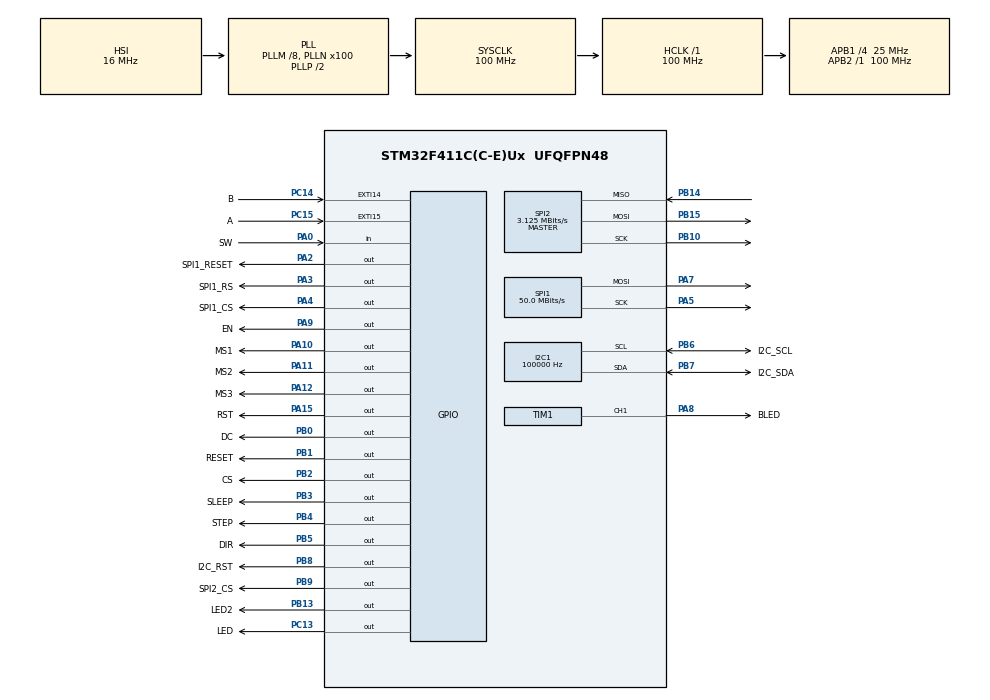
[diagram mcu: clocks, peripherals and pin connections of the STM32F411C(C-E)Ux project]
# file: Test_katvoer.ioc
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I2C1.ClockSpeed=100000
Mcu.Family=STM32F4
Mcu.Name=STM32F411C(C-E)Ux
Mcu.Package=UFQFPN48
NVIC.EXTI15_10_IRQn=true\:0\:0\:false\:false\:true\:true\:true
NVIC.PriorityGroup=NVIC_PRIORITYGROUP_4
PA0-WKUP.GPIO_Label=SW
PA0-WKUP.GPIO_PuPd=GPIO_PULLUP
PA0-WKUP.Signal=GPIO_Input
PA10.GPIO_Label=MS1
PA10.Signal=GPIO_Output
PA11.GPIO_Label=MS2
PA11.Signal=GPIO_Output
PA12.GPIO_Label=MS3
PA12.Signal=GPIO_Output
PA13.Mode=Serial_Wire
PA13.Signal=SYS_JTMS-SWDIO
PA14.Mode=Serial_Wire
PA14.Signal=SYS_JTCK-SWCLK
PA15.GPIO_Label=RST
PA15.Signal=GPIO_Output
PA2.GPIO_Label=SPI1_RESET
PA2.Signal=GPIO_Output
PA3.GPIO_Label=SPI1_RS
PA3.Signal=GPIO_Output
PA4.GPIO_Label=SPI1_CS
PA4.Signal=GPIO_Output
PA5.Mode=TX_Only_Simplex_Unidirect_Master
PA5.Signal=SPI1_SCK
PA7.Mode=TX_Only_Simplex_Unidirect_Master
PA7.Signal=SPI1_MOSI
PA8.GPIO_Label=BLED
PA8.Signal=S_TIM1_CH1
PA9.GPIO_Label=EN
PA9.Signal=GPIO_Output
PB0.GPIO_Label=DC
PB0.Signal=GPIO_Output
PB1.GPIO_Label=RESET
PB1.Signal=GPIO_Output
PB10.Mode=Full_Duplex_Master
PB10.Signal=SPI2_SCK
PB13.GPIO_Label=LED2
PB13.Signal=GPIO_Output
PB14.Mode=Full_Duplex_Master
PB14.Signal=SPI2_MISO
PB15.Mode=Full_Duplex_Master
PB15.Signal=SPI2_MOSI
PB2.GPIO_Label=CS
PB2.Signal=GPIO_Output
PB3.GPIO_Label=SLEEP
PB3.Signal=GPIO_Output
PB4.GPIO_Label=STEP
PB4.Signal=GPIO_Output
PB5.GPIO_Label=DIR
PB5.Signal=GPIO_Output
PB6.GPIO_Label=I2C_SCL
PB6.Mode=I2C
PB6.Signal=I2C1_SCL
PB7.GPIO_Label=I2C_SDA
PB7.Mode=I2C
PB7.Signal=I2C1_SDA
PB8.GPIO_Label=I2C_RST
PB8.Signal=GPIO_Output
PB9.GPIO_Label=SPI2_CS
PB9.Signal=GPIO_Output
PC13-ANTI_TAMP.GPIO_Label=LED
PC13-ANTI_TAMP.Signal=GPIO_Output
PC14-OSC32_IN.GPIO_Label=B
PC14-OSC32_IN.GPIO_ModeDefaultEXTI=GPIO_MODE_IT_RISING_FALLING
PC14-OSC32_IN.GPIO_PuPd=GPIO_PULLUP
PC14-OSC32_IN.Signal=GPXTI14
PC15-OSC32_OUT.GPIO_Label=A
PC15-OSC32_OUT.GPIO_ModeDefaultEXTI=GPIO_MODE_IT_RISING_FALLING
PC15-OSC32_OUT.GPIO_PuPd=GPIO_PULLUP
PC15-OSC32_OUT.Signal=GPXTI15
PH0\ -\ OSC_IN.Mode=HSE-External-Oscillator
PH0\ -\ OSC_IN.Signal=RCC_OSC_IN
PH1\ -\ OSC_OUT.Mode=HSE-External-Oscillator
PH1\ -\ OSC_OUT.Signal=RCC_OSC_OUT
ProjectManager.HeapSize=0x200
ProjectManager.StackSize=0x400
ProjectManager.TargetToolchain=STM32CubeIDE
RCC.48MHZClocksFreq_Value=50000000
RCC.AHBFreq_Value=100000000
RCC.APB1CLKDivider=RCC_HCLK_DIV4
RCC.APB1Freq_Value=25000000
RCC.APB1TimFreq_Value=50000000
RCC.APB2Freq_Value=100000000
RCC.APB2TimFreq_Value=100000000
RCC.CortexFreq_Value=100000000
RCC.HCLKFreq_Value=100000000
RCC.HSE_VALUE=16000000
RCC.HSI_VALUE=16000000
RCC.LSE_VALUE=32768
RCC.PLLM=8
RCC.PLLN=100
RCC.SYSCLKFreq_VALUE=100000000
RCC.SYSCLKSource=RCC_SYSCLKSOURCE_PLLCLK
RCC.VCOOutputFreq_Value=200000000
SH.S_TIM1_CH1.0=TIM1_CH1,PWM Generation1 CH1
SPI1.BaudRatePrescaler=SPI_BAUDRATEPRESCALER_2
SPI1.CalculateBaudRate=50.0 MBits/s
SPI1.Direction=SPI_DIRECTION_2LINES
SPI1.Mode=SPI_MODE_MASTER
SPI1.VirtualType=VM_MASTER
SPI2.BaudRatePrescaler=SPI_BAUDRATEPRESCALER_8
SPI2.CalculateBaudRate=3.125 MBits/s
SPI2.Direction=SPI_DIRECTION_2LINES
SPI2.Mode=SPI_MODE_MASTER
SPI2.VirtualType=VM_MASTER
TIM1.AutoReloadPreload=TIM_AUTORELOAD_PRELOAD_DISABLE
TIM1.Channel-PWM\ Generation1\ CH1=TIM_CHANNEL_1
TIM1.ClockDivision=TIM_CLOCKDIVISION_DIV4
TIM1.Prescaler=4
TIM10.ClockDivision=TIM_CLOCKDIVISION_DIV1
TIM10.Period=65535
TIM10.Prescaler=65535
TIM11.ClockDivision=TIM_CLOCKDIVISION_DIV4
TIM2.ClockDivision=TIM_CLOCKDIVISION_DIV1
TIM2.Period=4294967295
TIM2.Prescaler=50000
TIM3.Prescaler=4
TIM4.Prescaler=12500
VP_TIM10_VS_ClockSourceINT.Mode=Enable_Timer
VP_TIM11_VS_ClockSourceINT.Mode=Enable_Timer
VP_TIM1_VS_ClockSourceINT.Mode=Internal
VP_TIM2_VS_ClockSourceINT.Mode=Internal
VP_TIM3_VS_ClockSourceINT.Mode=Internal
VP_TIM4_VS_ClockSourceINT.Mode=Internal
board=custom

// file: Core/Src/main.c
/* USER CODE BEGIN Header */
/**
 ******************************************************************************
 * @file           : main.c
 * @brief          : Main program body
 ******************************************************************************
 * @attention
 *
 * <h2><center>&copy; Copyright (c) 2021 STMicroelectronics.
 * All rights reserved.</center></h2>
 *
 * This software component is licensed by ST under BSD 3-Clause license,
 * the "License"; You may not use this file except in compliance with the
 * License. You may obtain a copy of the License at:
 *                        opensource.org/licenses/BSD-3-Clause
 *
 ******************************************************************************
 */
/* USER CODE END Header */
#include "main.h"

/* USER CODE BEGIN Includes */
#include "stm32f4xx_hal.h"
#include "spi_ili9341.h"
#include "stdio.h"
#include "string.h"
#include "interface.h"
#include "stdbool.h"
#include "stdint.h"
#include "consolidate.h"
#include "stm32_ds3231.h"
#include "tone.h"
#include "w25qxx.h"
/* USER CODE END Includes */

I2C_HandleTypeDef hi2c1;

SPI_HandleTypeDef hspi1;
SPI_HandleTypeDef hspi2;

TIM_HandleTypeDef htim1;
TIM_HandleTypeDef htim2;
TIM_HandleTypeDef htim3;
TIM_HandleTypeDef htim4;
TIM_HandleTypeDef htim10;
TIM_HandleTypeDef htim11;

/* USER CODE BEGIN PV */
uint8_t buffer1[8]={1,2,3,4,5,6,7,8};
uint8_t buffer2[8];

/* USER CODE END PV */

void SystemClock_Config(void);
static void MX_GPIO_Init(void);
static void MX_SPI1_Init(void);
static void MX_TIM1_Init(void);
static void MX_SPI2_Init(void);
static void MX_TIM2_Init(void);
static void MX_TIM3_Init(void);
static void MX_I2C1_Init(void);
static void MX_TIM4_Init(void);
static void MX_TIM10_Init(void);
static void MX_TIM11_Init(void);

/* USER CODE BEGIN 0 */
//int A=0;
//int B=0;

short feed_time[4][2];
short feed_amount[4];
extern short update;

bool feed_status=1;
short feed_number=3;
uint8_t curr_day=0;
uint8_t prev_day=40;

long text_colour;

short prev_menu=-1;

short menu=0;
short sub_menu=-1;

short prev_sub_menu=-1;
uint16_t screen_brightness=32000;
long speed=4000; //2500

bool time_switch=0;
long time_switch_old;

bool feeding=false;
bool A_state=false;
bool B_state=true;
short selection,prev_selection;
short selection_wheel=-1;
bool sound_feed=1;
bool food_shake=1;
short sound_intensity=1; //0 uit 1 zacht,2 middel, 3 hard
short time_out=4; //0=10s, 1=20s, 30s, 1min, 5min,
bool refresh=0;
short feed_cal=5; //hoeveelheid voer calibratie
uint16_t sector_increment=65535;
uint8_t curr_sector=1;
long timeout_old=0;
long timeout_time=0;

long time_check_old=0;

short curr_time[2][2];

short skip_meal=0;

// external variables:
bool pressed;
bool button_pressed=false;
bool button_long_pressed=false;

extern short skip;

bool screen_off=0;

uint16_t time_now,time_old,time_diff;
long tone_old,tone_now,tone_diff;

_RTC rtc = {
		.Year = 21, .Month = 6, .Date = 24,
		.DaysOfWeek = THURSDAY,
		.Hour = 21, .Min = 6, .Sec = 00
};

//_RTC rtc;

uint8_t buffer[22];

/* USER CODE END 0 */

int main(void)
{
	/* USER CODE BEGIN 1 */
	HAL_GPIO_WritePin(BLED_GPIO_Port,BLED_Pin,GPIO_PIN_SET);
	/* USER CODE END 1 */

	/* MCU Configuration--------------------------------------------------------*/

	/* Reset of all peripherals, Initializes the Flash interface and the Systick. */
	HAL_Init();

	/* Configure the system clock */
	SystemClock_Config();

	/* USER CODE BEGIN SysInit */

	//HAL_TIM_Base_Start_IT(&htim1);

	/* USER CODE END SysInit */

	/* Initialize all configured peripherals */
	MX_GPIO_Init();
	MX_SPI1_Init();
	MX_TIM1_Init();
	MX_SPI2_Init();
	MX_TIM2_Init();
	MX_TIM3_Init();
	MX_I2C1_Init();
	MX_TIM4_Init();
	MX_TIM10_Init();
	MX_TIM11_Init();
	/* USER CODE BEGIN 2 */

	TFT9341_ini(240, 320);
	TFT9341_SetRotation(1);
	TFT9341_FillScreen(0x000);

	//extern short feed_time[4][2];
	feed_time[0][0]=8;
	feed_time[0][1]=0;
	feed_time[1][0]=13;
	feed_time[1][1]=1;
	feed_time[2][0]=18;
	feed_time[2][1]=0;
	feed_time[3][0]=0;
	feed_time[3][1]=10;
	//short feed_amount[4];
	//char curr_day[2];
	//short curr_time[2];
	//long text_colour;
	//short feed_status=1;
	//curr_time[0]=19;
	//curr_time[1]=47;
	//short feed_number=1;
	feed_amount[0]=7;
	feed_amount[1]=10;
	feed_amount[2]=10;
	feed_amount[3]=7;
	prev_selection=-1;

	pressed=false;
	char str[5];

	button_pressed=false;

	uint16_t time_now,time_old,time_diff;

	//draw_main(feed_time,feed_amount,curr_day,selection,text_colour,feed_status,feed_number);  //void draw_main(short feed_time[4][2],short feed_amount[4][1],char curr_day[2],short curr_time[2],short selection,long text_colour,short feed_status)
	/*
	int hour,min;
	hour=23;
	min=14;
	 */
	GPIO_PinState SW_state=GPIO_PIN_RESET;
	//HAL_GPIO_WritePin(BLED_GPIO_Port,BLED_Pin,GPIO_PIN_RESET);
	//char curr_time [50];
	HAL_TIM_Base_Start(&htim1);
	HAL_TIM_Base_Start(&htim2);
	HAL_TIM_Base_Start(&htim3);
	HAL_TIM_Base_Start(&htim4);
	HAL_TIM_Base_Start(&htim10);
	HAL_TIM_PWM_Start(&htim1, TIM_CHANNEL_1);
	//TIM1->CCR1=500;
	DS3231_Init(&hi2c1);

	//TFT9341_DrawRect(0xffff,30,70,130,170);
	//button(100,100,4);
	//test(150,100);
	//draw_power();
	//draw_main(feed_time,feed_amount,curr_day,selection,text_colour,feed_status,feed_number);
	/* USER CODE END 2 */

	/* Infinite loop */
	/* USER CODE BEGIN WHILE */
	//	short count=0;
	HAL_GPIO_WritePin(EN_GPIO_Port,EN_Pin,GPIO_PIN_RESET); //RESET is turn on
	HAL_GPIO_WritePin(SLEEP_GPIO_Port,SLEEP_Pin,GPIO_PIN_SET); //set is turn on
	HAL_GPIO_WritePin(RST_GPIO_Port,RST_Pin,GPIO_PIN_SET); //set is turn on
	HAL_GPIO_WritePin(MS1_GPIO_Port,MS1_Pin,GPIO_PIN_SET);
	HAL_GPIO_WritePin(MS2_GPIO_Port,MS2_Pin,GPIO_PIN_SET);
	HAL_GPIO_WritePin(MS3_GPIO_Port,MS3_Pin,GPIO_PIN_SET);
	menu=0;
	sub_menu=-1;
	skip=0;

	HAL_TIM_PWM_Start(&htim1, TIM_CHANNEL_1);

	//sub_menu=0;

	//DS3231_SetTime(&rtc);
	HAL_GPIO_WritePin(DIR_GPIO_Port,DIR_Pin,GPIO_PIN_SET);
	//play_tune();
	//play_tune();
	//play_tune();
	//play_tune();
	//play_tune();
	HAL_GPIO_WritePin(SLEEP_GPIO_Port,SLEEP_Pin,GPIO_PIN_RESET);
	HAL_GPIO_WritePin(EN_GPIO_Port,EN_Pin,GPIO_PIN_SET);
	W25qxx_Init();
	//W25qxx_EraseSector(1);
	//W25qxx_WriteSector(buffer1, 1, 0, 8);

	/*

	write_vars(buffer);

	for(int i=0;i<22;i++)
	{
		TFT9341_SetFont(&Font8);
		sprintf(str,"%d",buffer[i]);
		TFT9341_String(50,10*i,str);
		sprintf(str,"%d",i);
				TFT9341_String(5,10*i,str);
		buffer[i]=0;
	}
	read_vars();
	 */

	switch(time_out)
	{
	case 0:
		timeout_time=10000; // in ms
		break;
	case 1:
		timeout_time=20000; // in ms
		break;
	case 2:
		timeout_time=30000; // in ms
		break;
	case 3:
		timeout_time=60000; // in ms
		break;
	case 4:
		timeout_time=300000; // in ms
		break;
	}
	read_vars();
	DS3231_GetTime(&rtc);
	curr_day=rtc.DaysOfWeek;
	prev_day=curr_day;
	play_tune();
	//HAL_GPIO_WritePin(BLED_GPIO_Port,BLED_Pin,GPIO_PIN_SET);
	//feed_cat(1000);
	TIM1->CCR1=screen_brightness;
	HAL_GPIO_WritePin(BLED_GPIO_Port,BLED_Pin,GPIO_PIN_RESET);
	while (1)
	{
		menu_draw(); //takes care of all drawing actions on the screen
		selection_action();

		//W25qxx_ReadSector(buffer2, 1, 0, 8);
		//play_tone("a4");

		//play_tone("b3",1000);
		//play_tone("c3",1000);
		//play_tone("d3",1000);
		//HAL_GPIO_WritePin(BLED_GPIO_Port,BLED_Pin,GPIO_PIN_RESET);
		HAL_GPIO_WritePin(LED2_GPIO_Port,LED2_Pin,GPIO_PIN_SET);

		//speed=2500;
		//motor_intensity(0);

		/*
		while(1)
		{
			sound_feed=1;
			food_shake=0;
			feed_cat(10000);
			HAL_Delay(10000);
		}
		*/

		//speed=65000;
		//motor_intensity(2);
		//feed_cat(5000);

		if(TIM2->CNT-timeout_old>timeout_time)
		{
			//scherm uitdoen
			screen_off=1;
			TFT9341_FillScreen(0x0000);
			TIM1->CCR1=0;
		}
		else if(screen_off==1)
		{
			TIM1->CCR1=screen_brightness;
			screen_off=0;
			update=1;
		}

		// check de voertijden elke 10sec
		if(TIM2->CNT-time_check_old>10000 && (sub_menu!=0 || menu!=1 || sub_menu!=2))
		{
			DS3231_GetTime(&rtc); //get the current time
			time_check_old=TIM2->CNT;
			feed_cat_time();
		}

		/*
		DS3231_GetTime(&rtc);
		TFT9341_SetTextColor(0xffff);
		TFT9341_SetFont(&Font16);

		char str[5];

		curr_day=rtc.DaysOfWeek;
		sprintf(str,"%d",rtc.DaysOfWeek);
		 */

		//TFT9341_String(250,15,str);

		/*
		TFT9341_SetFont(&Font16);
		TFT9341_String(250,15,time_text(rtc.Hour,rtc.Min));
		 */

		// alle switch-case eigenlijk hier voor functies

		/*

		for(int i=0;i<22;i++)
		{
			TFT9341_SetFont(&Font8);
			sprintf(str,"%d",buffer[i]);
			TFT9341_String(5,5+10*i,str);
			buffer[i]=0;
		}
		read_vars();
		for(int i=0;i<22;i++)
		{
			TFT9341_SetFont(&Font8);
			sprintf(str,"%d",buffer[i]);
			TFT9341_String(5,5+10*i,str);
		}
		 */

		curr_day=rtc.DaysOfWeek;

		//draw_selection();

		/*
		sprintf(str,"%d",sub_menu);
		TFT9341_String(250,50,str);
		sprintf(str,"%d",menu);
		TFT9341_String(250,70,str);
		sprintf(str,"%d",selection_wheel);
		TFT9341_String(250,90,str);
		sprintf(str,"%d",skip);
		TFT9341_String(250,110,str);
		 */

		/*
		if(TIM3->CNT>9623)
		{

			HAL_GPIO_TogglePin(STEP_GPIO_Port,STEP_Pin);
			TIM3->CNT = 0;
			count++;
			//HAL_GPIO_WritePin(DIR_GPIO_Port,DIR_Pin,GPIO_PIN_SET);
		}
		if(count==2)
		{
			HAL_GPIO_TogglePin(DIR_GPIO_Port,DIR_Pin);
			count=0;
		}
		 */

		time_now=TIM10->CNT;
		time_diff=time_now-time_old;

		tone_now=TIM4->CNT;
		tone_diff=tone_now-tone_old;
		/* USER CODE END WHILE */

		/* USER CODE BEGIN 3 */

		// CHECK BUTTON PRESS
		if(pressed)
		{
			// keep track of elapsed time for pausing (use tim2)
			// also sleep etc.
			//play_tune();
		}
		if(button_long_pressed)
		{
			//HAL_GPIO_TogglePin(EN_GPIO_Port,EN_Pin);
			button_long_pressed=false;
			//feed_cat(10000);
		}

		//if(__HAL_TIM_GetCounter(&htim2)>=100)
		//{

		// 	------------------------
		//	BUTTON handling routine
		//
		if(HAL_GPIO_ReadPin(SW_GPIO_Port,SW_Pin)==GPIO_PIN_RESET)  //ingedrukt
		{
			if(SW_state==GPIO_PIN_RESET)
			{
				time_old=TIM10->CNT;
			}
			time_diff=TIM10->CNT-time_old;
			if(time_diff>1000)
			{
				TIM3->CNT=0;
				HAL_GPIO_WritePin(DIR_GPIO_Port, DIR_Pin, GPIO_PIN_RESET);

				HAL_GPIO_WritePin(SLEEP_GPIO_Port,SLEEP_Pin,GPIO_PIN_SET);
				HAL_GPIO_WritePin(EN_GPIO_Port,EN_Pin,GPIO_PIN_RESET);
				while(HAL_GPIO_ReadPin(SW_GPIO_Port,SW_Pin)==GPIO_PIN_RESET)
				{
					if(TIM3->CNT>speed)
					{
						TIM3->CNT=0;
						motor_intensity(0);
						HAL_GPIO_TogglePin(STEP_GPIO_Port,STEP_Pin);
					}
				}
				HAL_GPIO_WritePin(SLEEP_GPIO_Port,SLEEP_Pin,GPIO_PIN_RESET);
				HAL_GPIO_WritePin(EN_GPIO_Port,EN_Pin,GPIO_PIN_SET);
			}
			//sprintf(str,"%d   ",time_diff);
			//TFT9341_String(220, 5, str);
			//HAL_GPIO_TogglePin(LED_GPIO_Port,LED_Pin);
			if(SW_state==GPIO_PIN_RESET)
			{

			}
			SW_state=GPIO_PIN_SET;

		}
		if(HAL_GPIO_ReadPin(SW_GPIO_Port,SW_Pin)==GPIO_PIN_SET)  //weer losgelaten
		{
			time_diff=TIM10->CNT-time_old;
			if(SW_state==GPIO_PIN_SET)
			{

				//time_old=TIM10->CNT;

				if(time_diff>80 && time_diff<1000 && button_pressed==false)
				{
					HAL_GPIO_TogglePin(LED_GPIO_Port,LED_Pin);
					button_pressed=true;

					if(sound_intensity!=0)
					{
						motor_intensity(sound_intensity);
						play_tone("b4",35);
					}

					timeout_old=TIM2->CNT;
				}
				if((time_diff)>1000)
				{
					button_long_pressed=true;
					//HAL_GPIO_TogglePin(LED_GPIO_Port,LED_Pin);
				}
			}
			//time_old=TIM10->CNT;
			//HAL_GPIO_TogglePin(LED_GPIO_Port,LED_Pin);
			//HAL_GPIO_TogglePin(LED_GPIO_Port,LED_Pin);
			SW_state=GPIO_PIN_RESET; //één keer achter elkaar
		}
		// ------------------------

		//draw_main(feed_time,feed_amount,curr_day,selection,text_colour,feed_status,feed_number);  //void draw_main(short feed_time[4][2],short feed_amount[4][1],char curr_day[2],short curr_time[2],short selection,long text_colour,short feed_status)
		/*
		if(feed_number<4)
		{
			feed_number++;
		}
		else
		{
			feed_number=1;
		}
		 */

		if(time_switch==0 && menu==0 && screen_off==0)
		{
			if(TIM2->CNT-time_switch_old>1000 && menu==0)
			{
				DS3231_GetTime(&rtc);
				time_switch_old=TIM2->CNT;
				time_switch=1;
				TFT9341_SetTextColor(0xFE0A);
				TFT9341_SetFont(&Font20);
				TFT9341_String(235, 15,time_text(rtc.Hour, rtc.Min, 1));
			}
		}
		else
		{
			if(TIM2->CNT-time_switch_old>1000 && menu==0 && screen_off==0)
			{
				time_switch=0;
				TFT9341_SetTextColor(0xFE0A);
				TFT9341_SetFont(&Font20);
				TFT9341_String(235, 15,time_text(rtc.Hour, rtc.Min, 0));
				time_switch_old=TIM2->CNT;
			}

		}

		/*
		// KEEP TIME seperate
		if(menu==0&&feeding==false)
		{
			TFT9341_SetFont(&Font20);
			TFT9341_SetTextColor(0xFFFF);
			char str[4];
			if(TIM2->CNT>5000&&feeding==false)
			{
				TFT9341_SetFont(&Font20);

				sprintf(str,"%d:%d",curr_time[0],curr_time[1]);
				TFT9341_String(250,15,str);
			}
			else if(feeding==false)
			{

				sprintf(str,"%d %d",curr_time[0],curr_time[1]);
				TFT9341_String(250,15,str);
			}
		}

		 */

		/*
		//sprintf(str,"%d",selection);
		sprintf(str,"%d",time_old);
		TFT9341_String(250,50,str);
		//sprintf(str,"%d",menu);

		sprintf(str,"%d",menu);
		TFT9341_String(250,65,str);
		 */

		/*
		sprintf(str,"%d",time_diff);
		TFT9341_String(250,80,str);
		sprintf(str,"%d",button_pressed);
		TFT9341_String(250,100,str);
		sprintf(str,"%d",button_long_pressed);
		TFT9341_String(250,180,str);
		 */

		pressed=false;
	}

	/*
		HAL_GPIO_WritePin(LED_GPIO_Port,LED_Pin,GPIO_PIN_SET);
		HAL_Delay(500);
		HAL_GPIO_WritePin(LED_GPIO_Port,LED_Pin,GPIO_PIN_RESET);
		HAL_Delay(500);
	 */

	/*
				sprintf(curr_time,"%d:%d",hour,min);
		TFT9341_String(100,100,curr_time);
		HAL_Delay(1000);
		sprintf(curr_time,"%d %d",hour,min);
		TFT9341_String(100,100,curr_time);
		HAL_Delay(1000);

	 */
	//sprintf(curr_time,"%d",__HAL_TIM_GetCounter(&htim1));
	//TFT9341_String(100,100,curr_time);
	//HAL_Delay(5);

	/* USER CODE END 3 */
}

void SystemClock_Config(void)
{
	RCC_OscInitTypeDef RCC_OscInitStruct = {0};
	RCC_ClkInitTypeDef RCC_ClkInitStruct = {0};

	/** Configure the main internal regulator output voltage
	 */
	__HAL_RCC_PWR_CLK_ENABLE();
	__HAL_PWR_VOLTAGESCALING_CONFIG(PWR_REGULATOR_VOLTAGE_SCALE1);
	/** Initializes the RCC Oscillators according to the specified parameters
	 * in the RCC_OscInitTypeDef structure.
	 */
	RCC_OscInitStruct.OscillatorType = RCC_OSCILLATORTYPE_HSI;
	RCC_OscInitStruct.HSIState = RCC_HSI_ON;
	RCC_OscInitStruct.HSICalibrationValue = RCC_HSICALIBRATION_DEFAULT;
	RCC_OscInitStruct.PLL.PLLState = RCC_PLL_ON;
	RCC_OscInitStruct.PLL.PLLSource = RCC_PLLSOURCE_HSI;
	RCC_OscInitStruct.PLL.PLLM = 8;
	RCC_OscInitStruct.PLL.PLLN = 100;
	RCC_OscInitStruct.PLL.PLLP = RCC_PLLP_DIV2;
	RCC_OscInitStruct.PLL.PLLQ = 4;
	if (HAL_RCC_OscConfig(&RCC_OscInitStruct) != HAL_OK)
	{
		Error_Handler();
	}
	/** Initializes the CPU, AHB and APB buses clocks
	 */
	RCC_ClkInitStruct.ClockType = RCC_CLOCKTYPE_HCLK|RCC_CLOCKTYPE_SYSCLK
			|RCC_CLOCKTYPE_PCLK1|RCC_CLOCKTYPE_PCLK2;
	RCC_ClkInitStruct.SYSCLKSource = RCC_SYSCLKSOURCE_PLLCLK;
	RCC_ClkInitStruct.AHBCLKDivider = RCC_SYSCLK_DIV1;
	RCC_ClkInitStruct.APB1CLKDivider = RCC_HCLK_DIV4;
	RCC_ClkInitStruct.APB2CLKDivider = RCC_HCLK_DIV1;

	if (HAL_RCC_ClockConfig(&RCC_ClkInitStruct, FLASH_LATENCY_3) != HAL_OK)
	{
		Error_Handler();
	}
}

static void MX_I2C1_Init(void)
{

	hi2c1.Instance = I2C1;
	hi2c1.Init.ClockSpeed = 100000;
	hi2c1.Init.DutyCycle = I2C_DUTYCYCLE_2;
	hi2c1.Init.OwnAddress1 = 0;
	hi2c1.Init.AddressingMode = I2C_ADDRESSINGMODE_7BIT;
	hi2c1.Init.DualAddressMode = I2C_DUALADDRESS_DISABLE;
	hi2c1.Init.OwnAddress2 = 0;
	hi2c1.Init.GeneralCallMode = I2C_GENERALCALL_DISABLE;
	hi2c1.Init.NoStretchMode = I2C_NOSTRETCH_DISABLE;
	if (HAL_I2C_Init(&hi2c1) != HAL_OK)
	{
		Error_Handler();
	}

}

static void MX_SPI1_Init(void)
{

	/* SPI1 parameter configuration*/
	hspi1.Instance = SPI1;
	hspi1.Init.Mode = SPI_MODE_MASTER;
	hspi1.Init.Direction = SPI_DIRECTION_2LINES;
	hspi1.Init.DataSize = SPI_DATASIZE_8BIT;
	hspi1.Init.CLKPolarity = SPI_POLARITY_LOW;
	hspi1.Init.CLKPhase = SPI_PHASE_1EDGE;
	hspi1.Init.NSS = SPI_NSS_SOFT;
	hspi1.Init.BaudRatePrescaler = SPI_BAUDRATEPRESCALER_2;
	hspi1.Init.FirstBit = SPI_FIRSTBIT_MSB;
	hspi1.Init.TIMode = SPI_TIMODE_DISABLE;
	hspi1.Init.CRCCalculation = SPI_CRCCALCULATION_DISABLE;
	hspi1.Init.CRCPolynomial = 10;
	if (HAL_SPI_Init(&hspi1) != HAL_OK)
	{
		Error_Handler();
	}

}

static void MX_SPI2_Init(void)
{

	/* SPI2 parameter configuration*/
	hspi2.Instance = SPI2;
	hspi2.Init.Mode = SPI_MODE_MASTER;
	hspi2.Init.Direction = SPI_DIRECTION_2LINES;
	hspi2.Init.DataSize = SPI_DATASIZE_8BIT;
	hspi2.Init.CLKPolarity = SPI_POLARITY_LOW;
	hspi2.Init.CLKPhase = SPI_PHASE_1EDGE;
	hspi2.Init.NSS = SPI_NSS_SOFT;
	hspi2.Init.BaudRatePrescaler = SPI_BAUDRATEPRESCALER_8;
	hspi2.Init.FirstBit = SPI_FIRSTBIT_MSB;
	hspi2.Init.TIMode = SPI_TIMODE_DISABLE;
	hspi2.Init.CRCCalculation = SPI_CRCCALCULATION_DISABLE;
	hspi2.Init.CRCPolynomial = 10;
	if (HAL_SPI_Init(&hspi2) != HAL_OK)
	{
		Error_Handler();
	}

}

static void MX_TIM1_Init(void)
{

	TIM_ClockConfigTypeDef sClockSourceConfig = {0};
	TIM_MasterConfigTypeDef sMasterConfig = {0};
	TIM_OC_InitTypeDef sConfigOC = {0};
	TIM_BreakDeadTimeConfigTypeDef sBreakDeadTimeConfig = {0};

	htim1.Instance = TIM1;
	htim1.Init.Prescaler = 4;
	htim1.Init.CounterMode = TIM_COUNTERMODE_UP;
	htim1.Init.Period = 65535;
	htim1.Init.ClockDivision = TIM_CLOCKDIVISION_DIV4;
	htim1.Init.RepetitionCounter = 0;
	htim1.Init.AutoReloadPreload = TIM_AUTORELOAD_PRELOAD_DISABLE;
	if (HAL_TIM_Base_Init(&htim1) != HAL_OK)
	{
		Error_Handler();
	}
	sClockSourceConfig.ClockSource = TIM_CLOCKSOURCE_INTERNAL;
	if (HAL_TIM_ConfigClockSource(&htim1, &sClockSourceConfig) != HAL_OK)
	{
		Error_Handler();
	}
	if (HAL_TIM_PWM_Init(&htim1) != HAL_OK)
	{
		Error_Handler();
	}
	sMasterConfig.MasterOutputTrigger = TIM_TRGO_RESET;
	sMasterConfig.MasterSlaveMode = TIM_MASTERSLAVEMODE_DISABLE;
	if (HAL_TIMEx_MasterConfigSynchronization(&htim1, &sMasterConfig) != HAL_OK)
	{
		Error_Handler();
	}
	sConfigOC.OCMode = TIM_OCMODE_PWM1;
	sConfigOC.Pulse = 0;
	sConfigOC.OCPolarity = TIM_OCPOLARITY_HIGH;
	sConfigOC.OCNPolarity = TIM_OCNPOLARITY_HIGH;
	sConfigOC.OCFastMode = TIM_OCFAST_DISABLE;
	sConfigOC.OCIdleState = TIM_OCIDLESTATE_RESET;
	sConfigOC.OCNIdleState = TIM_OCNIDLESTATE_RESET;
	if (HAL_TIM_PWM_ConfigChannel(&htim1, &sConfigOC, TIM_CHANNEL_1) != HAL_OK)
	{
		Error_Handler();
	}
	sBreakDeadTimeConfig.OffStateRunMode = TIM_OSSR_DISABLE;
	sBreakDeadTimeConfig.OffStateIDLEMode = TIM_OSSI_DISABLE;
	sBreakDeadTimeConfig.LockLevel = TIM_LOCKLEVEL_OFF;
	sBreakDeadTimeConfig.DeadTime = 0;
	sBreakDeadTimeConfig.BreakState = TIM_BREAK_DISABLE;
	sBreakDeadTimeConfig.BreakPolarity = TIM_BREAKPOLARITY_HIGH;
	sBreakDeadTimeConfig.AutomaticOutput = TIM_AUTOMATICOUTPUT_DISABLE;
	if (HAL_TIMEx_ConfigBreakDeadTime(&htim1, &sBreakDeadTimeConfig) != HAL_OK)
	{
		Error_Handler();
	}
	HAL_TIM_MspPostInit(&htim1);

}

static void MX_TIM2_Init(void)
{

	TIM_ClockConfigTypeDef sClockSourceConfig = {0};
	TIM_MasterConfigTypeDef sMasterConfig = {0};

	htim2.Instance = TIM2;
	htim2.Init.Prescaler = 50000;
	htim2.Init.CounterMode = TIM_COUNTERMODE_UP;
	htim2.Init.Period = 4294967295;
	htim2.Init.ClockDivision = TIM_CLOCKDIVISION_DIV1;
	htim2.Init.AutoReloadPreload = TIM_AUTORELOAD_PRELOAD_DISABLE;
	if (HAL_TIM_Base_Init(&htim2) != HAL_OK)
	{
		Error_Handler();
	}
	sClockSourceConfig.ClockSource = TIM_CLOCKSOURCE_INTERNAL;
	if (HAL_TIM_ConfigClockSource(&htim2, &sClockSourceConfig) != HAL_OK)
	{
		Error_Handler();
	}
	sMasterConfig.MasterOutputTrigger = TIM_TRGO_RESET;
	sMasterConfig.MasterSlaveMode = TIM_MASTERSLAVEMODE_DISABLE;
	if (HAL_TIMEx_MasterConfigSynchronization(&htim2, &sMasterConfig) != HAL_OK)
	{
		Error_Handler();
	}

}

static void MX_TIM3_Init(void)
{

	TIM_ClockConfigTypeDef sClockSourceConfig = {0};
	TIM_MasterConfigTypeDef sMasterConfig = {0};

	htim3.Instance = TIM3;
	htim3.Init.Prescaler = 3;
	htim3.Init.CounterMode = TIM_COUNTERMODE_UP;
	htim3.Init.Period = 65535;
	htim3.Init.ClockDivision = TIM_CLOCKDIVISION_DIV1;
	htim3.Init.AutoReloadPreload = TIM_AUTORELOAD_PRELOAD_DISABLE;
	if (HAL_TIM_Base_Init(&htim3) != HAL_OK)
	{
		Error_Handler();
	}
	sClockSourceConfig.ClockSource = TIM_CLOCKSOURCE_INTERNAL;
	if (HAL_TIM_ConfigClockSource(&htim3, &sClockSourceConfig) != HAL_OK)
	{
		Error_Handler();
	}
	sMasterConfig.MasterOutputTrigger = TIM_TRGO_RESET;
	sMasterConfig.MasterSlaveMode = TIM_MASTERSLAVEMODE_DISABLE;
	if (HAL_TIMEx_MasterConfigSynchronization(&htim3, &sMasterConfig) != HAL_OK)
	{
		Error_Handler();
	}

}

static void MX_TIM4_Init(void)
{

	TIM_ClockConfigTypeDef sClockSourceConfig = {0};
	TIM_MasterConfigTypeDef sMasterConfig = {0};

	htim4.Instance = TIM4;
	htim4.Init.Prescaler = 12500;
	htim4.Init.CounterMode = TIM_COUNTERMODE_UP;
	htim4.Init.Period = 65535;
	htim4.Init.ClockDivision = TIM_CLOCKDIVISION_DIV1;
	htim4.Init.AutoReloadPreload = TIM_AUTORELOAD_PRELOAD_DISABLE;
	if (HAL_TIM_Base_Init(&htim4) != HAL_OK)
	{
		Error_Handler();
	}
	sClockSourceConfig.ClockSource = TIM_CLOCKSOURCE_INTERNAL;
	if (HAL_TIM_ConfigClockSource(&htim4, &sClockSourceConfig) != HAL_OK)
	{
		Error_Handler();
	}
	sMasterConfig.MasterOutputTrigger = TIM_TRGO_RESET;
	sMasterConfig.MasterSlaveMode = TIM_MASTERSLAVEMODE_DISABLE;
	if (HAL_TIMEx_MasterConfigSynchronization(&htim4, &sMasterConfig) != HAL_OK)
	{
		Error_Handler();
	}

}

static void MX_TIM10_Init(void)
{

	htim10.Instance = TIM10;
	htim10.Init.Prescaler = 65535;
	htim10.Init.CounterMode = TIM_COUNTERMODE_UP;
	htim10.Init.Period = 65535;
	htim10.Init.ClockDivision = TIM_CLOCKDIVISION_DIV1;
	htim10.Init.AutoReloadPreload = TIM_AUTORELOAD_PRELOAD_DISABLE;
	if (HAL_TIM_Base_Init(&htim10) != HAL_OK)
	{
		Error_Handler();
	}

}

static void MX_TIM11_Init(void)
{

	htim11.Instance = TIM11;
	htim11.Init.Prescaler = 0;
	htim11.Init.CounterMode = TIM_COUNTERMODE_UP;
	htim11.Init.Period = 65535;
	htim11.Init.ClockDivision = TIM_CLOCKDIVISION_DIV4;
	htim11.Init.AutoReloadPreload = TIM_AUTORELOAD_PRELOAD_DISABLE;
	if (HAL_TIM_Base_Init(&htim11) != HAL_OK)
	{
		Error_Handler();
	}

}

static void MX_GPIO_Init(void)
{
	GPIO_InitTypeDef GPIO_InitStruct = {0};

	/* GPIO Ports Clock Enable */
	__HAL_RCC_GPIOC_CLK_ENABLE();
	__HAL_RCC_GPIOH_CLK_ENABLE();
	__HAL_RCC_GPIOA_CLK_ENABLE();
	__HAL_RCC_GPIOB_CLK_ENABLE();

	/*Configure GPIO pin Output Level */
	HAL_GPIO_WritePin(LED_GPIO_Port, LED_Pin, GPIO_PIN_RESET);

	/*Configure GPIO pin Output Level */
	HAL_GPIO_WritePin(GPIOA, SPI1_RESET_Pin|SPI1_RS_Pin|SPI1_CS_Pin|EN_Pin
			|MS1_Pin|MS2_Pin|MS3_Pin|RST_Pin, GPIO_PIN_RESET);

	/*Configure GPIO pin Output Level */
	HAL_GPIO_WritePin(GPIOB, DC_Pin|RESET_Pin|CS_Pin|LED2_Pin
			|SLEEP_Pin|STEP_Pin|DIR_Pin|I2C_RST_Pin
			|SPI2_CS_Pin, GPIO_PIN_RESET);

	/*Configure GPIO pin : LED_Pin */
	GPIO_InitStruct.Pin = LED_Pin;
	GPIO_InitStruct.Mode = GPIO_MODE_OUTPUT_PP;
	GPIO_InitStruct.Pull = GPIO_NOPULL;
	GPIO_InitStruct.Speed = GPIO_SPEED_FREQ_LOW;
	HAL_GPIO_Init(LED_GPIO_Port, &GPIO_InitStruct);

	/*Configure GPIO pins : B_Pin A_Pin */
	GPIO_InitStruct.Pin = B_Pin|A_Pin;
	GPIO_InitStruct.Mode = GPIO_MODE_IT_RISING_FALLING;
	GPIO_InitStruct.Pull = GPIO_PULLUP;
	HAL_GPIO_Init(GPIOC, &GPIO_InitStruct);

	/*Configure GPIO pin : SW_Pin */
	GPIO_InitStruct.Pin = SW_Pin;
	GPIO_InitStruct.Mode = GPIO_MODE_INPUT;
	GPIO_InitStruct.Pull = GPIO_PULLUP;
	HAL_GPIO_Init(SW_GPIO_Port, &GPIO_InitStruct);

	/*Configure GPIO pins : SPI1_RESET_Pin SPI1_RS_Pin SPI1_CS_Pin EN_Pin
                           MS1_Pin MS2_Pin MS3_Pin RST_Pin */
	GPIO_InitStruct.Pin = SPI1_RESET_Pin|SPI1_RS_Pin|SPI1_CS_Pin|EN_Pin
			|MS1_Pin|MS2_Pin|MS3_Pin|RST_Pin;
	GPIO_InitStruct.Mode = GPIO_MODE_OUTPUT_PP;
	GPIO_InitStruct.Pull = GPIO_NOPULL;
	GPIO_InitStruct.Speed = GPIO_SPEED_FREQ_LOW;
	HAL_GPIO_Init(GPIOA, &GPIO_InitStruct);

	/*Configure GPIO pins : DC_Pin RESET_Pin CS_Pin LED2_Pin
                           SLEEP_Pin STEP_Pin DIR_Pin I2C_RST_Pin
                           SPI2_CS_Pin */
	GPIO_InitStruct.Pin = DC_Pin|RESET_Pin|CS_Pin|LED2_Pin
			|SLEEP_Pin|STEP_Pin|DIR_Pin|I2C_RST_Pin
			|SPI2_CS_Pin;
	GPIO_InitStruct.Mode = GPIO_MODE_OUTPUT_PP;
	GPIO_InitStruct.Pull = GPIO_NOPULL;
	GPIO_InitStruct.Speed = GPIO_SPEED_FREQ_LOW;
	HAL_GPIO_Init(GPIOB, &GPIO_InitStruct);

	/* EXTI interrupt init*/
	HAL_NVIC_SetPriority(EXTI15_10_IRQn, 0, 0);
	HAL_NVIC_EnableIRQ(EXTI15_10_IRQn);

}

/* USER CODE BEGIN 4 */
void HAL_GPIO_EXTI_Callback(uint16_t GPIO_Pin)
{
	pressed=true;

	static GPIO_PinState A_state,B_state,prev_A=GPIO_PIN_SET,prev_B=GPIO_PIN_SET;

	if(GPIO_Pin == A_Pin)
	{
		B_state=HAL_GPIO_ReadPin(B_GPIO_Port,B_Pin);

		if(B_state!=prev_B)
		{
			if(B_state==GPIO_PIN_SET)
			{
				if(A_state==GPIO_PIN_RESET)
				{
					selection++;
					timeout_old=TIM2->CNT;
				}
			}
			prev_B=B_state;
		}
	}

	if(GPIO_Pin == B_Pin)
	{
		A_state=HAL_GPIO_ReadPin(A_GPIO_Port,A_Pin);

		if(A_state!=prev_A)
		{
			if(A_state==GPIO_PIN_SET)
			{
				if(B_state==GPIO_PIN_RESET)
				{
					selection--;
					timeout_old=TIM2->CNT;
				}
			}
			prev_A=A_state;
		}
	}

	/*

    if(GPIO_Pin == A_Pin) // If The INT Source Is EXTI Line9 (A9 Pin)
    {
			if(A_state==false)
			{
				TIM1->CNT = 0;
				A_state=true;
				A++;
			}

			if(__HAL_TIM_GetCounter(&htim1)>=500)
			{
				//HAL_GPIO_TogglePin(LED_GPIO_Port,LED_Pin); // Toggle The Output (LED) Pin
				//A++;
				//TIM1->CNT = 0;
				A_state=false;
				TIM1->CNT = 0;
				A++;
			}
    }
	 */
}

/* USER CODE END 4 */

void Error_Handler(void)
{
	__disable_irq();
	while (1)
	{
	}
}

/************************ (C) COPYRIGHT STMicroelectronics *****END OF FILE****/
